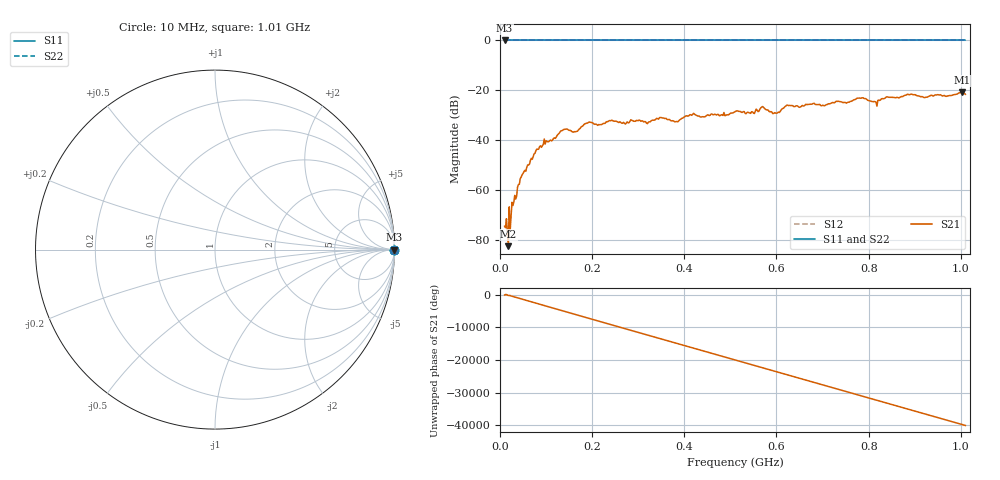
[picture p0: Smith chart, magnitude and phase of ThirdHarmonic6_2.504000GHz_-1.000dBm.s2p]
! 8/17/2025 4:49:29 AM
! C:\ANRITSUVNA\TEMP\TEMP.S2P
! CHANNEL.1
! TR.MEASUREMENT
! RAW.DATA
! RF.CORRECTION.OFF
! AVERAGING.OFF
! IF.BANDWIDTH: 5KHZ
! SWEEPTYPE:  FREQ.SWEEP(Linear)
! Reference Plane Port Info
! PORT:  PORT1  PORT2
! DISTANCE:  0  m  0  m
! TIME:  0  s  0  s
! PHASE.OFFSET:  0  deg.  0  deg.
! LOSS:  0  dB  0  dB
! REF.LOSS:  0  dB  0  dB
! REF.FREQ:  0  Hz  0  Hz
! Power Info
! POWER:  -20  dBm  -20  dBm
! EFF.POWER:  -20  dBm  -20  dBm
! SOURCE.ATTEN:  0  dB  0  dB
! TEST.ATTEN:  0  dB  0  dB
# GHZ S RI R 50.0
! FREQ.GHZ  S11RE  S11IM  S21RE  S21IM  S12RE  S12IM  S22RE  S22IM
!; PortSelection: Port_12
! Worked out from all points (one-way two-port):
!   501 points, 10 MHz to 1.01 GHz, reference 50 ohm
!   highest |S21| = -20.83 dB at 1.002 GHz (marker M1); lowest = -82.4 dB at 18 MHz (marker M2)
!   lowest |S11| = 0.0 dB at 10 MHz (marker M3)
!   |S11| at or under -10 dB: nowhere
!   |S22| runs from 0.0 to 0.0 dB; largest |S21 - S12| = 1.1
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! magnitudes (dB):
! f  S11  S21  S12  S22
! 10 MHz  0.0  -74.4  0.0  0.0
! 18 MHz  0.0  -82.4  0.0  0.0
! 20 MHz  0.0  -66.7  0.0  0.0
! 28 MHz  0.0  -66.1  0.0  0.0
! 44 MHz  0.0  -55.3  0.0  0.0
! 78 MHz  0.0  -44.1  0.0  0.0
! 136 MHz  0.0  -36.0  0.0  0.0
! 164 MHz  0.0  -36.6  0.0  0.0
! 178 MHz  0.0  -34.4  0.0  0.0
! 344 MHz  0.0  -31.5  0.0  0.0
! 382 MHz  0.0  -32.5  0.0  0.0
! 416 MHz  0.0  -30.0  0.0  0.0
! 510 MHz  0.0  -28.5  0.0  0.0
! 570 MHz  0.0  -26.5  0.0  0.0
! 596 MHz  0.0  -28.9  0.0  0.0
! 624 MHz  0.0  -25.9  0.0  0.0
! 678 MHz  0.0  -25.4  0.0  0.0
! 784 MHz  0.0  -23.1  0.0  0.0
! 814 MHz  0.0  -24.5  0.0  0.0
! 844 MHz  0.0  -22.8  0.0  0.0
! 1.002 GHz  0.0  -20.8  0.0  0.0
! 1.01 GHz  0.0  -21.6  0.0  0.0
